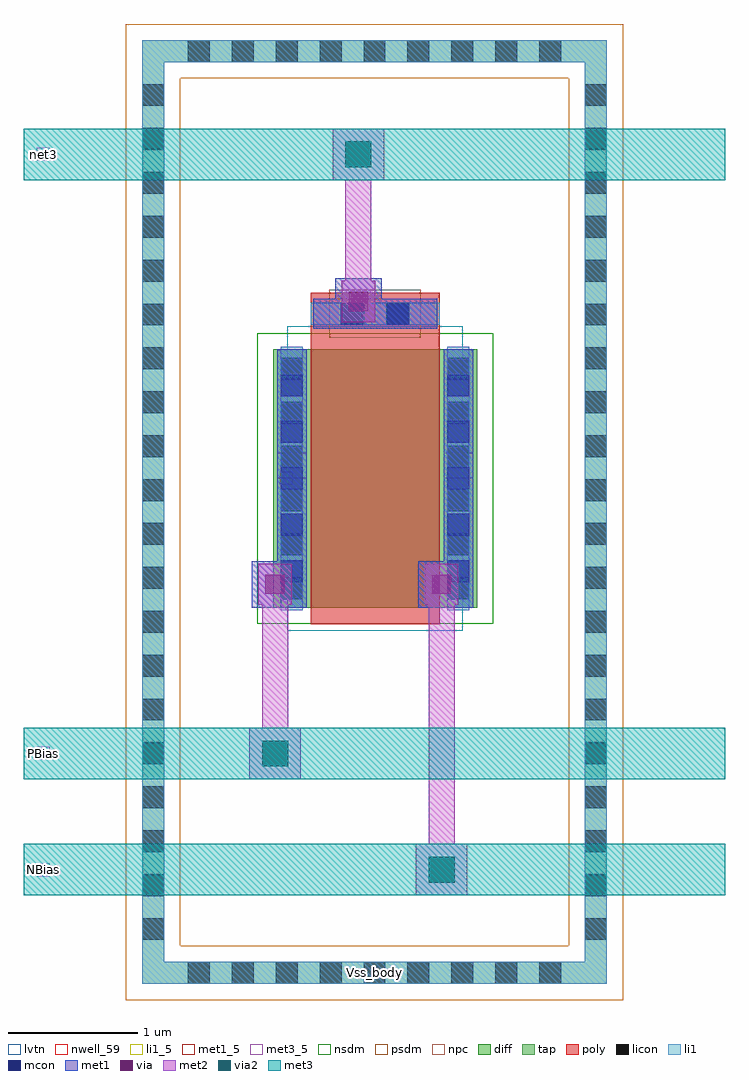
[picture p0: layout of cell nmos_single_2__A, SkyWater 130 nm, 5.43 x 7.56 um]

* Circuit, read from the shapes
.subckt nmos_single_2__A NBias PBias Vss_body net3
XM1 NBias net3 PBias Vss_body sky130_fd_pr__nfet_01v8_lvt w=2 l=1
.ends

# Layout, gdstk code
import gdstk
lib = gdstk.Library(unit=1e-6, precision=1e-09)
def R(c, l, rs):  # rectangles x0, y0, x1, y1
    for r in rs: c.add(gdstk.rectangle(r[:2], r[2:], *l))
def A(c, l, x, y, w, h, nx, ny, dx, dy):  # array of equal rectangles
    R(c, l, [(x+i*dx, y+j*dy, x+i*dx+w, y+j*dy+h) for i in range(nx) for j in range(ny)])
nwell_59 = (64, 59)
diff = (65, 20)
tap = (65, 44)
poly = (66, 20)
licon = (66, 44)
li1_5 = (67, 5)
li1 = (67, 20)
mcon = (67, 44)
met1_5 = (68, 5)
met1 = (68, 20)
via = (68, 44)
met2 = (69, 20)
via2 = (69, 44)
met3_5 = (70, 5)
met3 = (70, 20)
nsdm = (93, 44)
psdm = (94, 20)
npc = (95, 20)
lvtn = (125, 44)

sky130_fd_pr__nfet_01v8_ = lib.new_cell('sky130_fd_pr__nfet_01v8_lvt_U7GK5T')
R(sky130_fd_pr__nfet_01v8_, diff, [(-0.79,-1.155,0.79,0.845)])
R(sky130_fd_pr__nfet_01v8_, poly, [(-0.5,-1.285,0.5,1.285)])
A(sky130_fd_pr__nfet_01v8_, licon, -0.73, -1.09, 0.17, 0.17, 1, 6, 0, 0.34)
A(sky130_fd_pr__nfet_01v8_, licon, 0.56, -1.09, 0.17, 0.17, 1, 6, 0, 0.34)
R(sky130_fd_pr__nfet_01v8_, licon, [(-0.255,1.035,-0.085,1.205), (0.085,1.035,0.255,1.205)])
R(sky130_fd_pr__nfet_01v8_, li1, [(-0.73,-1.175,-0.56,0.865), (0.56,-1.175,0.73,0.865), (-0.5,1.035,0.5,1.205)])
A(sky130_fd_pr__nfet_01v8_, mcon, -0.73, -0.96, 0.17, 0.17, 1, 5, 0, 0.36)
A(sky130_fd_pr__nfet_01v8_, mcon, 0.56, -0.96, 0.17, 0.17, 1, 5, 0, 0.36)
R(sky130_fd_pr__nfet_01v8_, mcon, [(-0.265,1.035,-0.095,1.205), (0.095,1.035,0.265,1.205)])
R(sky130_fd_pr__nfet_01v8_, met1, [(-0.76,-1.155,-0.53,0.845), (0.53,-1.155,0.76,0.845), (-0.48,1.005,0.48,1.235)])
R(sky130_fd_pr__nfet_01v8_, nsdm, [(-0.915,-1.28,0.915,0.97)])
R(sky130_fd_pr__nfet_01v8_, npc, [(-0.355,0.935,0.355,1.305)])
R(sky130_fd_pr__nfet_01v8_, lvtn, [(-0.68,-1.335,0.68,1.025)])
sky130_fd_pr__nfet_01v8_.add(gdstk.Label('D', (-0.645,-0.155), layer=67, texttype=5))
sky130_fd_pr__nfet_01v8_.add(gdstk.Label('S', (0.645,-0.155), layer=67, texttype=5))
sky130_fd_pr__nfet_01v8_.add(gdstk.Label('G', (0,1.12), layer=67, texttype=5))

nfet_01v8_lvt_w2_l1_m1__ = lib.new_cell('nfet_01v8_lvt_W2_L1_m1__nf1_gtop_sdfull_ng')
R(nfet_01v8_lvt_w2_l1_m1__, nwell_59, [(0.05,1.08,0.15,1.18)])
R(nfet_01v8_lvt_w2_l1_m1__, met1_5, [(0.03,1.13,0.26,1.33), (1.32,1.13,1.55,1.33), (0.31,2.29,1.27,2.52)])
R(nfet_01v8_lvt_w2_l1_m1__, met1, [(0.03,1.13,0.26,1.33), (1.32,1.13,1.55,1.33), (0.31,2.29,1.27,2.52)])
nfet_01v8_lvt_w2_l1_m1__.add(gdstk.Reference(sky130_fd_pr__nfet_01v8_, (0.79,1.285)))
nfet_01v8_lvt_w2_l1_m1__.add(gdstk.Label('D', (0.145,1.23), layer=68, texttype=5))
nfet_01v8_lvt_w2_l1_m1__.add(gdstk.Label('S', (1.435,1.23), layer=68, texttype=5))
nfet_01v8_lvt_w2_l1_m1__.add(gdstk.Label('G', (0.79,2.405), layer=68, texttype=5))
nfet_01v8_lvt_w2_l1_m1__.add(gdstk.Label('B', (0.1,1.13), layer=64, texttype=59))

nmos_single_2__a = lib.new_cell('nmos_single_2__A')
R(nmos_single_2__a, tap, [(-0.885,-2.785,2.715,-2.615), (-0.885,-2.615,-0.715,4.355), (2.545,-2.615,2.715,4.355), (-0.885,4.355,2.715,4.525)])
A(nmos_single_2__a, licon, -0.53, -2.785, 0.17, 0.17, 9, 2, 0.34, 7.14)
A(nmos_single_2__a, licon, -0.885, -2.445, 0.17, 0.17, 1, 20, 0, 0.34)
A(nmos_single_2__a, licon, 2.545, -2.445, 0.17, 0.17, 1, 20, 0, 0.34)
R(nmos_single_2__a, li1_5, [(0.865,-2.75,0.965,-2.65)])
R(nmos_single_2__a, li1, [(-0.885,-2.785,2.715,-2.615), (-0.885,-2.615,-0.715,4.355), (2.545,-2.615,2.715,4.355), (-0.885,4.355,2.715,4.525)])
R(nmos_single_2__a, met1, [(-0.035,0.13,0.325,0.49), (1.255,0.13,1.615,0.49), (0.61,2.32,0.97,2.68)])
R(nmos_single_2__a, via, [(0.07,0.235,0.22,0.385), (1.36,0.235,1.51,0.385), (0.715,2.425,0.865,2.575)])
R(nmos_single_2__a, met2, [(1.235,-2.1,1.635,-1.7), (1.335,-1.7,1.535,0.15), (-0.055,-1.2,0.345,-0.8), (0.045,-0.8,0.245,0.15), (0.015,0.15,0.275,0.47), (1.305,0.15,1.565,0.47), (0.66,2.34,0.92,2.66), (0.69,2.66,0.89,3.44), (0.59,3.44,0.99,3.84)])
R(nmos_single_2__a, via2, [(1.335,-2,1.535,-1.8), (0.045,-1.1,0.245,-0.9), (0.69,3.54,0.89,3.74)])
R(nmos_single_2__a, met3_5, [(-1.7,-1.95,-1.6,-1.85), (-1.7,-1.05,-1.6,-0.95), (-1.7,3.59,-1.6,3.69)])
R(nmos_single_2__a, met3, [(-1.8,-2.1,3.63,-1.7), (-1.8,-1.2,3.63,-0.8), (-1.8,3.44,3.63,3.84)])
R(nmos_single_2__a, psdm, [(-1.01,-2.91,2.84,-2.49), (-1.01,-2.49,-0.59,4.23), (2.42,-2.49,2.84,4.23), (-1.01,4.23,2.84,4.65)])
nmos_single_2__a.add(gdstk.Reference(nfet_01v8_lvt_w2_l1_m1__, (0.13,0)))
nmos_single_2__a.add(gdstk.Label('net3', (-1.65,3.64), layer=70, texttype=5))
nmos_single_2__a.add(gdstk.Label('PBias', (-1.65,-1), layer=70, texttype=5))
nmos_single_2__a.add(gdstk.Label('NBias', (-1.65,-1.9), layer=70, texttype=5))
nmos_single_2__a.add(gdstk.Label('Vss_body', (0.915,-2.7), layer=67, texttype=5))

lib.write_gds('nmos_single_2__A.gds')
